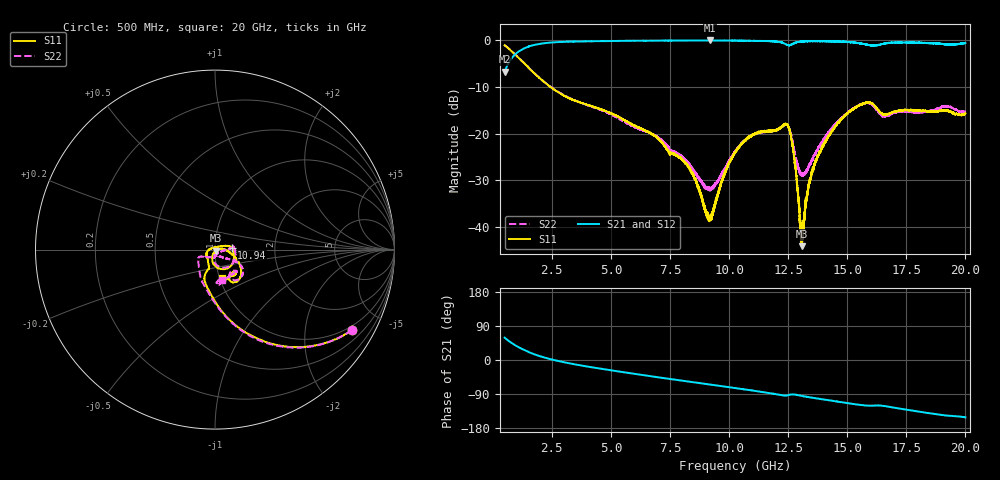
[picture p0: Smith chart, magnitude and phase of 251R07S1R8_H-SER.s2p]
!{201R07S1R8}
!Johanson Technology Inc.
!www.johansontechnology.com
!Test Board Conditions:
!Substrate Type  RO4350B
!Substrate Thickness  10 mil
!Substrate Dk  3.66
!TL Type: GCPW
!TL Trace Width  21 mil
!TL Gap  20 mil
!Electrode orientation  Horizontal
!DUT TOPOLOGY	SERIES
!Mounting Pad LxW  16x21 mil
!Agilent Technologies,N5230A,MY45001966,A.07.50.67
!Agilent N5230A: A.07.50.67
! Created Mon Mar  9 16:25:12 2020
# mhz S ma R 50
! 2 Port Network Data from SP1.SP block
! freq  magS11  angS11  magS21  angS21  magS12  angS12  magS22  angS22
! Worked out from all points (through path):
!   19501 points, 500 MHz to 20 GHz, reference 50 ohm
!   highest |S21| = -0.04 dB at 9.199 GHz (marker M1); lowest = -6.8 dB at 500 MHz (marker M2)
!   group delay of S21, straight-line fit = 25.3 ps
!   lowest |S11| = -44.2 dB at 13.08 GHz (marker M3), VSWR 1.01, Z = 50.3 - j0.519 ohm
!   |S11| at or under -10 dB: 2.436412 GHz to 2.437769 GHz (1.357 MHz wide, 0.0557 % of centre); 2.438 GHz to end of sweep
!   |S22| runs from -32.2 to -1.1 dB; largest |S21 - S12| = 0.014
!   S11 on the Smith chart (normalised r, x): 500 MHz: 0.84, -3.47; 10.94 GHz: 1.21, +0.03; 20 GHz: 1.03, -0.34
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500  0.8846 -30.6  0.4594 59.0  0.461 59.1  0.8842 -30.5
981  0.6897 -51.9  0.719 37.7  0.7187 37.6  0.6914 -52.1
1744  0.4445 -74.1  0.8894 15.4  0.8899 15.3  0.4481 -74.2
3750  0.2129 -102.2  0.972 -14.6  0.9713 -14.6  0.2124 -105.8
7000  0.08812 -114.5  0.9906 -45.7  0.9908 -45.7  0.09035 -154.6
8273  0.04352 -165.2  0.9924 -56.8  0.9928 -56.8  0.04856 -120.1
9199  0.01255 98.8  0.9951 -64.8  0.9915 -64.9  0.0251 -51.1
9768  0.03513 30.7  0.9927 -69.8  0.9909 -69.7  0.04007 -11.9
10250  0.06342 19.5  0.9904 -74.0  0.9901 -73.9  0.06459 -0.8
10937  0.09404 6.8  0.9853 -80.2  0.9845 -80.0  0.09473 6.5
11975  0.108 -14.3  0.9726 -90.0  0.9731 -90.2  0.1085 2.0
12488  0.1211 -62.8  0.8877 -93.2  0.891 -93.3  0.1222 -51.2
12738  0.05893 -105.2  0.9224 -90.9  0.9244 -91.1  0.07053 -92.2
13005  0.01007 -93.2  0.9671 -93.9  0.9657 -93.9  0.03872 -90.1
13082  0.006194 -56.4  0.9703 -94.7  0.9707 -94.8  0.03594 -82.5
13500  0.03732 7.0  0.9802 -99.5  0.979 -99.3  0.05093 -51.1
14145  0.08874 -12.0  0.9754 -105.5  0.9776 -105.6  0.09734 -33.9
15121  0.1717 -34.5  0.9521 -115.0  0.9536 -114.8  0.1752 -32.3
15893  0.2161 -55.1  0.8905 -120.5  0.8936 -120.5  0.2123 -51.1
16750  0.1616 -51.9  0.9372 -123.2  0.9319 -123.3  0.1566 -48.5
19160  0.1783 -68.2  0.9078 -146.4  0.9098 -145.9  0.1958 -83.2
20000  0.164 -76.0  0.9303 -151.4  0.9306 -151.2  0.1719 -76.4
